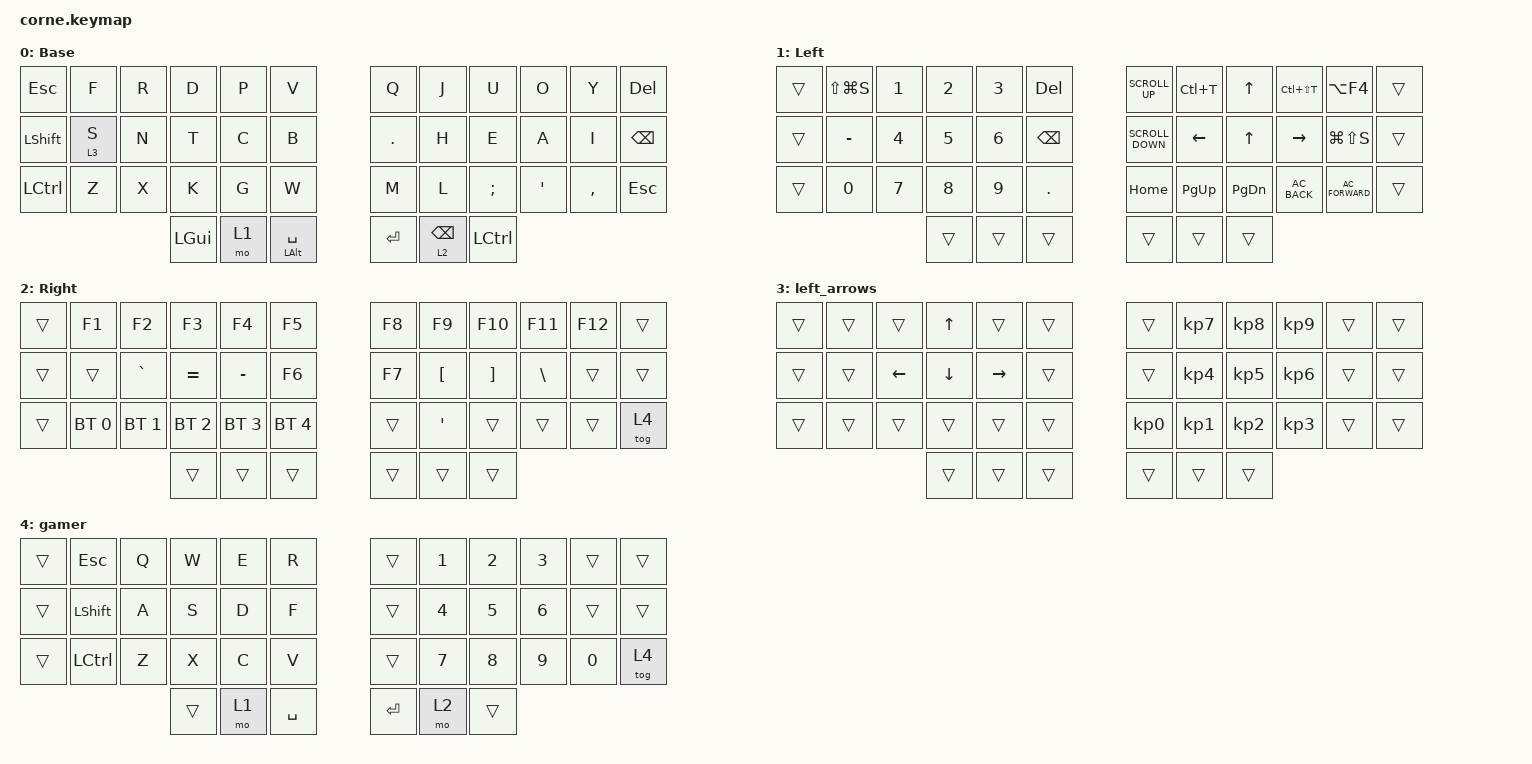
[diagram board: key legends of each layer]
/*
 * Copyright (c) 2020 The ZMK Contributors
 *
 * SPDX-License-Identifier: MIT
 *
 */

#include <behaviors.dtsi>
#include <dt-bindings/zmk/bt.h>
#include <dt-bindings/zmk/keys.h>

/ {
    combos {
        compatible = "zmk,combos";

        copy_combo {
            bindings = <&kp LC(C)>;
            key-positions = <16 15>;
            layers = <0>;
            timeout-ms = <30>;
        };

        select_all_combo {
            bindings = <&kp LC(A)>;
            key-positions = <16 14>;
            layers = <0>;
            timeout-ms = <30>;
        };

        cut_combo {
            bindings = <&kp LC(X)>;
            key-positions = <16 3>;
            layers = <0>;
            timeout-ms = <30>;
        };

        enter_combo {
            bindings = <&kp ENTER>;
            key-positions = <28 27>;
            layers = <0>;
            timeout-ms = <30>;
        };

        undo_combo {
            bindings = <&kp LC(Z)>;
            key-positions = <27 26>;
            layers = <0>;
            timeout-ms = <30>;
        };

        redo_combo {
            bindings = <&kp LC(LS(Z))>;
            key-positions = <26 28>;
            layers = <0>;
            timeout-ms = <30>;
        };

        save_combo {
            bindings = <&kp LC(S)>;
            key-positions = <15 14>;
            layers = <0>;
            timeout-ms = <30>;
        };

        tab_combo {
            bindings = <&kp TAB>;
            key-positions = <2 3>;
            layers = <0>;
            timeout-ms = <30>;
        };

        splat_combo {
            bindings = <&kp LC(V)>;
            key-positions = <16 27>;
            timeout-ms = <30>;
            layers = <0>;
        };

        ctrl_backspace_combo {
            bindings = <&kp LC(BACKSPACE)>;
            key-positions = <19 20>;
            timeout-ms = <30>;
            layers = <0>;
        };
    };

    macros {
        copy: copy {
            compatible = "zmk,behavior-macro";
            #binding-cells = <0>;
            bindings =
                <&macro_press>,
                <&kp LCTRL>,
                <&macro_tap>,
                <&kp C>,
                <&macro_release>,
                <&kp LCTRL>;

            label = "COPY";
        };

        select_all: paste {
            compatible = "zmk,behavior-macro";
            #binding-cells = <0>;
            bindings =
                <&macro_press>,
                <&kp LCTRL>,
                <&macro_tap>,
                <&kp A>,
                <&macro_release>,
                <&kp LCTRL>;

            label = "PASTE";
        };

        cut: cut {
            compatible = "zmk,behavior-macro";
            #binding-cells = <0>;
            bindings =
                <&macro_press>,
                <&kp LCTRL>,
                <&macro_tap>,
                <&kp X>,
                <&macro_release>,
                <&kp LCTRL>;

            label = "CUT";
        };

        undo: undo {
            compatible = "zmk,behavior-macro";
            #binding-cells = <0>;
            bindings =
                <&macro_press>,
                <&kp LCTRL>,
                <&macro_tap>,
                <&kp Z>,
                <&macro_release>,
                <&kp LCTRL>;

            label = "UNDO";
        };

        redo: redo {
            compatible = "zmk,behavior-macro";
            #binding-cells = <0>;
            bindings =
                <&macro_press>,
                <&kp LCTRL &kp LEFT_SHIFT>,
                <&macro_tap>,
                <&kp Z>,
                <&macro_release>,
                <&kp LCTRL &kp LEFT_SHIFT>;

            label = "REDO";
        };

        save: save {
            compatible = "zmk,behavior-macro";
            #binding-cells = <0>;
            bindings =
                <&macro_press>,
                <&kp LCTRL>,
                <&macro_tap>,
                <&kp S>,
                <&macro_release>,
                <&kp LCTRL>;

            label = "SAVE";
        };

        splat: splat {
            compatible = "zmk,behavior-macro";
            #binding-cells = <0>;
            bindings =
                <&macro_press>,
                <&kp LCTRL>,
                <&macro_tap>,
                <&kp V>,
                <&macro_release>,
                <&kp LCTRL>;

            label = "SPLAT";
        };

        ctrl_backspace: ctrl_delete {
            compatible = "zmk,behavior-macro";
            #binding-cells = <0>;
            bindings =
                <&macro_press>,
                <&kp LCTRL>,
                <&macro_tap>,
                <&kp BACKSPACE>,
                <&macro_release>,
                <&kp LCTRL>;

            label = "CTRL_DELETE";
        };
    };

    keymap {
        compatible = "zmk,keymap";

        base_layer {
            // -----------------------------------------------------------------------------------------
            // |  TAB |  Q  |  W  |  E  |  R  |  T  |   |  Y  |  U   |  I  |  O  |  P  | BKSP |
            // | CTRL |  A  |  S  |  D  |  F  |  G  |   |  H  |  J   |  K  |  L  |  ;  |  '   |
            // | SHFT |  Z  |  X  |  C  |  V  |  B  |   |  N  |  M   |  ,  |  .  |  /  | ESC  |
            //                    | GUI | LWR | SPC |   | ENT | RSE  | ALT |

            label = "Base";
            bindings = <
&kp ESC         &kp F    &kp R  &kp D     &kp P  &kp V                 &kp Q      &kp J            &kp U      &kp O     &kp Y      &kp DELETE
&kp LEFT_SHIFT  &lt 3 S  &kp N  &kp T     &kp C  &kp B                 &kp DOT    &kp H            &kp E      &kp A     &kp I      &kp BACKSPACE
&kp LCTRL       &kp Z    &kp X  &kp K     &kp G  &kp W                 &kp M      &kp L            &kp SEMI   &kp APOS  &kp COMMA  &kp ESC
                                &kp LGUI  &mo 1  &mt LEFT_ALT SPACE    &kp ENTER  &lt 2 BACKSPACE  &kp LCTRL
            >;
        };

        left_layer {
            // -----------------------------------------------------------------------------------------
            // |  TAB |  1  |  2  |  3  |  4  |  5  |   |  6  |  7  |  8  |  9  |  0  | BKSP |
            // | BTCLR| BT1 | BT2 | BT3 | BT4 | BT5 |   | LFT | DWN |  UP | RGT |     |      |
            // | SHFT |STDUL|     |     |     |   |     |     |     |     |     |      |
            //                    |BTCLR|     | SPC |   | ENT |     | ALT |

            label = "Left";
            bindings = <
&trans  &kp LS(LG(S))  &kp NUMBER_1  &kp NUMBER_2  &kp NUMBER_3  &kp DELETE       &kp K_SCROLL_UP    &kp LC(T)  &kp UP     &kp LC(LS(T))  &kp LA(F4)        &trans
&trans  &kp MINUS      &kp NUMBER_4  &kp N5        &kp NUMBER_6  &kp BACKSPACE    &kp K_SCROLL_DOWN  &kp LEFT   &kp UP     &kp RIGHT      &kp LG(LS(S))     &trans
&trans  &kp N0         &kp NUMBER_7  &kp NUMBER_8  &kp NUMBER_9  &kp PERIOD       &kp HOME           &kp PG_UP  &kp PG_DN  &kp C_AC_BACK  &kp C_AC_FORWARD  &trans
                                     &trans        &trans        &trans           &trans             &trans     &trans
            >;
        };

        right_layer {
            // -----------------------------------------------------------------------------------------
            // |  TAB |  !  |  @  |  #  |  $  |  %  |   |  ^  |  &  |  *  |  (  |  )  | BKSP |
            // | CTRL |     |     |     |     |     |   |  -  |  =  |  [  |  ]  |  \  |  `   |
            // | SHFT |     |     |     |     |     |   |  _  |  +  |  {  |  }  | "|" |  ~   |
            //                    | GUI |     | SPC |   | ENT |     | ALT |

            label = "Right";
            bindings = <
&trans  &kp F1        &kp F2        &kp F3        &kp F4        &kp F5          &kp F8  &kp F9            &kp F10            &kp F11        &kp F12  &trans
&trans  &trans        &kp GRAVE     &kp EQUAL     &kp MINUS     &kp F6          &kp F7  &kp LEFT_BRACKET  &kp RIGHT_BRACKET  &kp BACKSLASH  &trans   &trans
&trans  &bt BT_SEL 0  &bt BT_SEL 1  &bt BT_SEL 2  &bt BT_SEL 3  &bt BT_SEL 4    &trans  &kp SINGLE_QUOTE  &trans             &trans         &trans   &tog 4
                                    &trans        &trans        &trans          &trans  &trans            &trans
            >;
        };

        left_arrows {
            bindings = <
&trans  &trans  &trans          &kp UP_ARROW    &trans           &trans    &trans           &kp KP_NUMBER_7  &kp KP_NUMBER_8  &kp KP_NUMBER_9  &trans  &trans
&trans  &trans  &kp LEFT_ARROW  &kp DOWN_ARROW  &kp RIGHT_ARROW  &trans    &trans           &kp KP_NUMBER_4  &kp KP_NUMBER_5  &kp KP_NUMBER_6  &trans  &trans
&trans  &trans  &trans          &trans          &trans           &trans    &kp KP_NUMBER_0  &kp KP_N1        &kp KP_N2        &kp KP_NUMBER_3  &trans  &trans
                                &trans          &trans           &trans    &trans           &trans           &trans
            >;
        };

        gamer {
            bindings = <
&trans  &kp ESC    &kp Q  &kp W   &kp E  &kp R        &trans     &kp N1  &kp N2  &kp N3  &trans  &trans
&trans  &kp LSHFT  &kp A  &kp S   &kp D  &kp F        &trans     &kp N4  &kp N5  &kp N6  &trans  &trans
&trans  &kp LCTRL  &kp Z  &kp X   &kp C  &kp V        &trans     &kp N7  &kp N8  &kp N9  &kp N0  &tog 4
                          &trans  &mo 1  &kp SPACE    &kp ENTER  &mo 2   &trans
            >;
        };
    };
};
